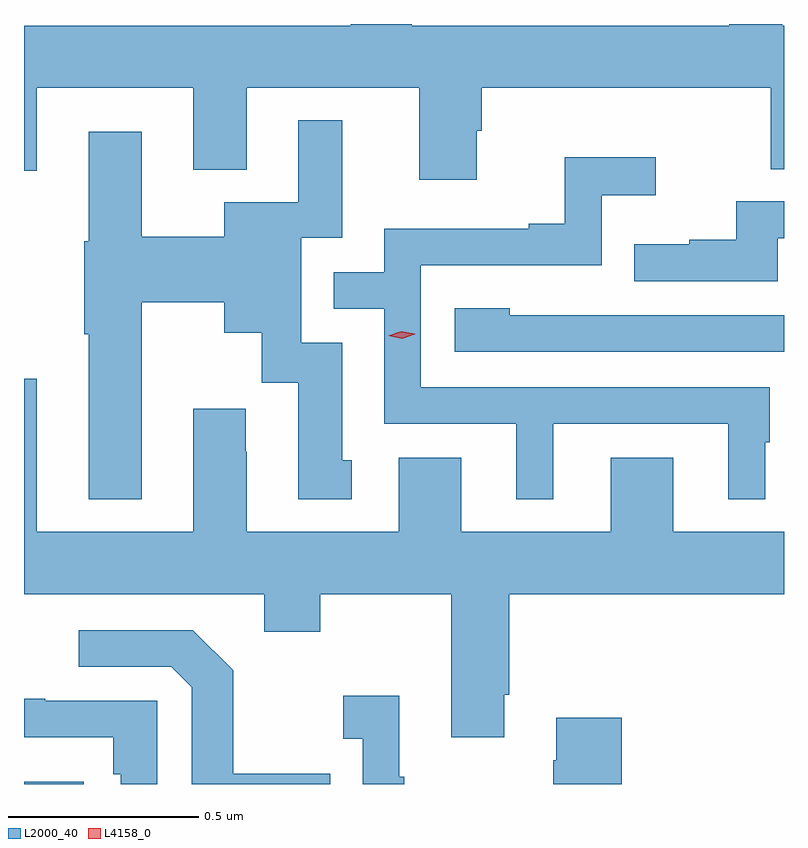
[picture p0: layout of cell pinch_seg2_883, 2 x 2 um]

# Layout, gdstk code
import gdstk
lib = gdstk.Library(unit=1e-6, precision=1e-09)
def R(c, l, rs):  # rectangles x0, y0, x1, y1
    for r in rs: c.add(gdstk.rectangle(r[:2], r[2:], *l))
def P(c, l, *ps):  # polygons
    for p in ps: c.add(gdstk.Polygon(p, *l))
L2000_40 = (2000, 40)
L4158_0 = (4158, 0)

pinch_seg2_883 = lib.new_cell('pinch_seg2_883')
R(pinch_seg2_883, L2000_40, [(603.045,604.512,603.202,604.518)])
P(pinch_seg2_883, L2000_40, [(604.237,606.231),(604.25,606.231),(604.25,606.344),(605.01,606.344),(605.01,606.13),(605.045,606.13),(605.045,606.508),(605.041,606.508),(605.041,606.512),(604.901,606.512),(604.901,606.508),(604.065,606.508),(604.065,606.512),(603.905,606.512),(603.905,606.508),(603.045,606.508),(603.045,606.126),(603.079,606.126),(603.079,606.344),(603.491,606.344),(603.491,606.128),(603.631,606.128),(603.631,606.344),(604.085,606.344),(604.085,606.102),(604.237,606.102)],
  [(603.355,605.78),(603.572,605.78),(603.572,605.699),(603.671,605.699),(603.671,605.568),(603.767,605.568),(603.767,605.262),(603.907,605.262),(603.907,605.364),(603.883,605.364),(603.883,605.673),(603.774,605.673),(603.774,605.949),(603.883,605.949),(603.883,606.259),(603.767,606.259),(603.767,606.043),(603.572,606.043),(603.572,605.952),(603.355,605.952),(603.355,606.229),(603.215,606.229),(603.215,605.94),(603.203,605.94),(603.203,605.696),(603.215,605.696),(603.215,605.261),(603.355,605.261)],
  [(604.438,605.46),(604.898,605.46),(604.898,605.261),(604.996,605.261),(604.996,605.412),(605.008,605.412),(605.008,605.556),(604.089,605.556),(604.089,605.877),(604.566,605.877),(604.566,606.062),(604.708,606.062),(604.708,606.161),(604.468,606.161),(604.468,605.986),(604.373,605.986),(604.373,605.973),(603.993,605.973),(603.993,605.859),(603.86,605.859),(603.86,605.763),(603.993,605.763),(603.993,605.46),(604.34,605.46),(604.34,605.261),(604.438,605.261)],
  [(605.029,605.948),(605.045,605.948),(605.045,606.045),(604.919,606.045),(604.919,605.944),(604.795,605.944),(604.795,605.932),(604.651,605.932),(604.651,605.835),(605.029,605.835)],
  [(605.045,605.745),(604.559,605.745),(604.559,605.746),(604.323,605.746),(604.323,605.764),(604.179,605.764),(604.179,605.649),(605.045,605.649)],
  [(604.031,605.371),(604.031,605.176),(603.631,605.176),(603.631,605.387),(603.628,605.387),(603.628,605.5),(603.491,605.5),(603.491,605.176),(603.079,605.176),(603.079,605.578),(603.045,605.578),(603.045,605.012),(603.677,605.012),(603.677,604.913),(603.825,604.913),(603.825,605.012),(604.169,605.012),(604.169,604.635),(604.309,604.635),(604.309,604.747),(604.322,604.747),(604.322,605.012),(605.045,605.012),(605.045,605.176),(604.753,605.176),(604.753,605.371),(604.589,605.371),(604.589,605.176),(604.195,605.176),(604.195,605.371)],
  [(603.851,604.539),(603.595,604.539),(603.595,604.811),(603.489,604.917),(603.189,604.917),(603.189,604.821),(603.432,604.821),(603.486,604.767),(603.486,604.512),(603.851,604.512)],
  [(604.045,604.531),(604.033,604.531),(604.033,604.744),(603.885,604.744),(603.885,604.631),(603.936,604.631),(603.936,604.512),(604.045,604.512)],
  [(603.396,604.731),(603.101,604.731),(603.101,604.736),(603.045,604.736),(603.045,604.635),(603.28,604.635),(603.28,604.538),(603.3,604.538),(603.3,604.512),(603.396,604.512)],
  [(604.618,604.687),(604.445,604.687),(604.445,604.574),(604.438,604.574),(604.438,604.512),(604.618,604.512)])
P(pinch_seg2_883, L4158_0, [(604.04,605.684),(604.004,605.691),(604.004,605.691),(604.004,605.691),(604.038,605.704),(604.073,605.697),(604.074,605.696),(604.073,605.696)])

lib.write_gds('pinch_seg2_883.gds')
